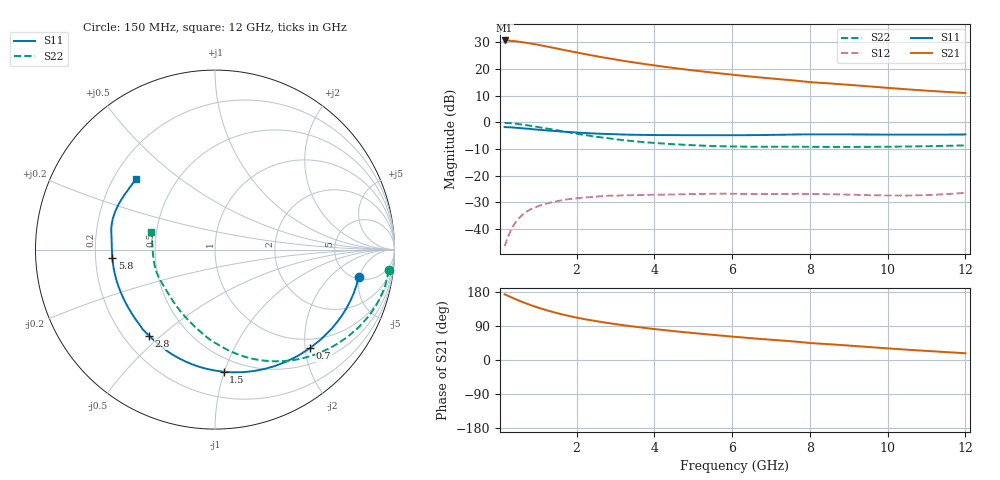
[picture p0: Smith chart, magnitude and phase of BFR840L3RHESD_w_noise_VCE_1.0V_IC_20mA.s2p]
! Infineon Technologies  Discrete & RF Semiconductors
! BFR840L3RHESD
! VCE =  1.0 V,  IC =  20 mA
! Common Emitter S-Parameters:  Jun 2012
# GHz  S  MA  R  50
!  f  S11  S21  S12  S22
! GHz  MAG  ANG  MAG  ANG  MAG  ANG  MAG  ANG
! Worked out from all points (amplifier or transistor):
!   91 points, 150 MHz to 12 GHz, reference 50 ohm
!   highest |S21| = 30.7 dB at 150 MHz (marker M1)
!   |S21| within 3 dB of that: start of sweep to 1.49 GHz
!   unconditionally stable (mu >= 1): 7.045 GHz to end of sweep
!   at 1.3 GHz: K = 0.19, MSG = 29.2 dB, |S12| = -30.2 dB
!   at 4.3 GHz: K = 0.60, MSG = 23.9 dB, |S12| = -27.1 dB
!   at 12 GHz: K = 1.81, MAG = 13.5 dB, |S12| = -26.4 dB
!   lowest NFmin = 1.09 dB at 450 MHz
!   S11 on the Smith chart (normalised r, x): 150 MHz: 5.37, -4.82; 700 MHz: 0.80, -2.10; 1.5 GHz: 0.39, -0.99; 2.8 GHz: 0.30, -0.46; 5.8 GHz: 0.27, -0.04; 12 GHz: 0.29, +0.36
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0.15  0.8144 -10.7  34.1 173.4  0.0048 86.4  0.9742 -6.7
0.3  0.8063 -20.9  33.64 166.5  0.0092 77.7  0.9632 -14.6
0.45  0.7912 -30.7  32.77 159.8  0.014 72.2  0.9391 -21.9
0.6  0.774 -40.1  31.68 153.4  0.0184 67.8  0.9085 -28.7
0.7  0.7625 -46.1  30.89 149.5  0.0209 64.9  0.8866 -32.9
0.9  0.7403 -57.3  29.21 142.1  0.025 59.3  0.8413 -40.9
1.1  0.7196 -67.7  27.47 135.4  0.0283 53.9  0.796 -48.3
1.3  0.7002 -77.2  25.73 129.4  0.031 49.1  0.7517 -55.1
1.5  0.6822 -86.0  24.06 123.8  0.0334 45.2  0.7091 -61.4
1.8  0.6583 -97.9  21.74 116.3  0.0364 41.0  0.6495 -70.1
2.2  0.6321 -111.4  19.05 108.0  0.039 37.0  0.5808 -80.2
2.5  0.6162 -119.9  17.34 102.7  0.0406 33.8  0.5386 -86.7
2.8  0.6043 -127.4  15.9 97.8  0.0422 30.6  0.5048 -92.6
3.4  0.5863 -140.7  13.46 89.2  0.0432 26.8  0.448 -103.7
4.2  0.5769 -154.4  11.12 79.5  0.0442 23.9  0.4019 -116.4
5  0.5742 -165.9  9.385 71.2  0.0454 22.6  0.3724 -128.0
5.8  0.5738 -175.4  8.087 63.7  0.0461 20.9  0.3554 -138.6
6.1  0.5741 -178.6  7.673 60.9  0.0459 20.3  0.352 -142.3
8  0.595 162.6  5.655 44.8  0.0456 19.7  0.3477 -166.1
8.5  0.595 158.8  5.357 41.7  0.0451 19.7  0.3467 -170.3
10.5  0.5875 145.0  4.149 27.2  0.0425 26.0  0.3523 173.2
12  0.592 138.0  3.538 17.8  0.0477 32.4  0.3698 164.8
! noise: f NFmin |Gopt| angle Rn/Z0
0.45  1.09  0.06  16  0.16
0.9  1.12  0.07  29  0.15
1.9  1.15  0.1  55  0.14
3.5  1.14  0.12  79  0.13
4  1.15  0.14  86  0.13
5.5  1.17  0.17  104  0.12
7  1.23  0.19  122  0.12
8  1.28  0.19  133  0.12
10  1.37  0.19  157  0.12
12  1.49  0.21  -170  0.12
